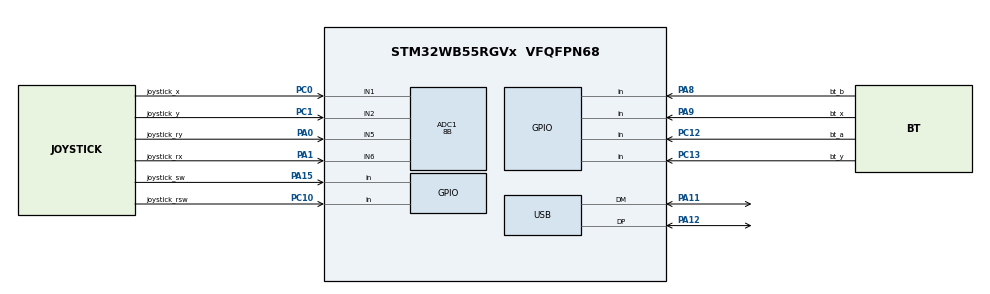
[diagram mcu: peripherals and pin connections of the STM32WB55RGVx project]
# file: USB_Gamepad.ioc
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ADC1.Channel-0\#ChannelRegularConversion=ADC_CHANNEL_1
ADC1.Channel-1\#ChannelRegularConversion=ADC_CHANNEL_2
ADC1.Channel-2\#ChannelRegularConversion=ADC_CHANNEL_6
ADC1.Channel-3\#ChannelRegularConversion=ADC_CHANNEL_5
ADC1.ClockPrescaler=ADC_CLOCK_SYNC_PCLK_DIV4
ADC1.ContinuousConvMode=DISABLE
ADC1.DMAContinuousRequests=ENABLE
ADC1.EOCSelection=ADC_EOC_SEQ_CONV
ADC1.ExternalTrigConv=ADC_EXTERNALTRIG_T1_TRGO
ADC1.NbrOfConversion=4
ADC1.NbrOfConversionFlag=1
ADC1.OffsetNumber-0\#ChannelRegularConversion=ADC_OFFSET_NONE
ADC1.OffsetNumber-1\#ChannelRegularConversion=ADC_OFFSET_NONE
ADC1.OffsetNumber-2\#ChannelRegularConversion=ADC_OFFSET_NONE
ADC1.OffsetNumber-3\#ChannelRegularConversion=ADC_OFFSET_NONE
ADC1.Rank-0\#ChannelRegularConversion=1
ADC1.Rank-1\#ChannelRegularConversion=2
ADC1.Rank-2\#ChannelRegularConversion=3
ADC1.Rank-3\#ChannelRegularConversion=4
ADC1.Resolution=ADC_RESOLUTION_8B
ADC1.SamplingTime-0\#ChannelRegularConversion=ADC_SAMPLETIME_640CYCLES_5
ADC1.SamplingTime-1\#ChannelRegularConversion=ADC_SAMPLETIME_640CYCLES_5
ADC1.SamplingTime-2\#ChannelRegularConversion=ADC_SAMPLETIME_640CYCLES_5
ADC1.SamplingTime-3\#ChannelRegularConversion=ADC_SAMPLETIME_640CYCLES_5
ADC1.master=1
Dma.ADC1.0.Direction=DMA_PERIPH_TO_MEMORY
Dma.ADC1.0.EventEnable=DISABLE
Dma.ADC1.0.Instance=DMA1_Channel1
Dma.ADC1.0.MemDataAlignment=DMA_MDATAALIGN_BYTE
Dma.ADC1.0.MemInc=DMA_MINC_ENABLE
Dma.ADC1.0.Mode=DMA_CIRCULAR
Dma.ADC1.0.PeriphDataAlignment=DMA_PDATAALIGN_BYTE
Dma.ADC1.0.PeriphInc=DMA_PINC_DISABLE
Dma.ADC1.0.Polarity=HAL_DMAMUX_REQ_GEN_RISING
Dma.ADC1.0.Priority=DMA_PRIORITY_HIGH
Dma.ADC1.0.RequestNumber=1
Dma.ADC1.0.SignalID=NONE
Dma.ADC1.0.SyncEnable=DISABLE
Dma.ADC1.0.SyncPolarity=HAL_DMAMUX_SYNC_NO_EVENT
Dma.ADC1.0.SyncRequestNumber=1
Dma.ADC1.0.SyncSignalID=NONE
Dma.Request0=ADC1
Mcu.Family=STM32WB
Mcu.Name=STM32WB55RGVx
Mcu.Package=VFQFPN68
NVIC.DMA1_Channel1_IRQn=true\:0\:0\:false\:false\:true\:false\:true\:true
NVIC.PriorityGroup=NVIC_PRIORITYGROUP_4
NVIC.TIM1_TRG_COM_TIM17_IRQn=true\:0\:0\:false\:false\:true\:true\:true\:true
NVIC.TIM1_UP_TIM16_IRQn=true\:0\:0\:false\:false\:true\:true\:true\:true
NVIC.USB_LP_IRQn=true\:0\:0\:false\:false\:true\:false\:true\:true
PA0.GPIO_Label=joystick_ry
PA0.Signal=ADCx_IN5
PA1.GPIO_Label=joystick_rx
PA1.Signal=ADCx_IN6
PA11.GPIO_Speed=GPIO_SPEED_FREQ_VERY_HIGH
PA11.Mode=Device
PA11.Signal=USB_DM
PA12.GPIO_Speed=GPIO_SPEED_FREQ_VERY_HIGH
PA12.Mode=Device
PA12.Signal=USB_DP
PA15.GPIO_Label=joystick_sw
PA15.GPIO_PuPd=GPIO_PULLUP
PA15.Signal=GPIO_Input
PA8.GPIO_Label=bt_b
PA8.GPIO_PuPd=GPIO_PULLUP
PA8.Signal=GPIO_Input
PA9.GPIO_Label=bt_x
PA9.GPIO_PuPd=GPIO_PULLUP
PA9.Signal=GPIO_Input
PC0.GPIO_Label=joystick_x
PC0.Signal=ADCx_IN1
PC1.GPIO_Label=joystick_y
PC1.Signal=ADCx_IN2
PC10.GPIO_Label=joystick_rsw
PC10.GPIO_PuPd=GPIO_PULLUP
PC10.Signal=GPIO_Input
PC12.GPIO_Label=bt_a
PC12.GPIO_PuPd=GPIO_PULLUP
PC12.Signal=GPIO_Input
PC13.GPIO_Label=bt_y
PC13.GPIO_PuPd=GPIO_PULLUP
PC13.Signal=GPIO_Input
ProjectManager.HeapSize=0x200
ProjectManager.StackSize=0x400
ProjectManager.TargetToolchain=STM32CubeIDE
RCC.ADCFreq_Value=48000000
RCC.AHB2CLKDivider=RCC_SYSCLK_DIV2
RCC.AHBFreq_Value=64000000
RCC.APB1Freq_Value=64000000
RCC.APB1TimFreq_Value=64000000
RCC.APB2Freq_Value=64000000
RCC.APB2TimFreq_Value=64000000
RCC.APB3Freq_Value=16000000
RCC.Cortex2_Div=SYSTICK_CLKSOURCE_HCLK_DIV8
RCC.CortexFreq_Value=64000000
RCC.HCLKFreq_Value=64000000
RCC.HSE_VALUE=32000000
RCC.HSI48_VALUE=48000000
RCC.HSI_VALUE=16000000
RCC.LSE_VALUE=32768
RCC.PLLN=32
RCC.PLLSAI1N=24
RCC.SMPSCLockSelection=RCC_SMPSCLKSOURCE_HSI
RCC.SMPSCLockSelectionVirtual=RCC_SMPSCLKSOURCE_HSI
RCC.SMPSCLockSelectionVirtualVirtual=RCC_SMPSCLKSOURCE_HSI
RCC.SMPSDivider=1
RCC.SYSCLKFreq_VALUE=64000000
RCC.SYSCLKSource=RCC_SYSCLKSOURCE_PLLCLK
RCC.USBFreq_Value=48000000
RCC.VCOOutputFreq_Value=128000000
SH.ADCx_IN1.0=ADC1_IN1,IN1-Single-Ended
SH.ADCx_IN2.0=ADC1_IN2,IN2-Single-Ended
SH.ADCx_IN5.0=ADC1_IN5,IN5-Single-Ended
SH.ADCx_IN6.0=ADC1_IN6,IN6-Single-Ended
TIM1.Period=100-1
TIM1.Prescaler=64000-1
TIM1.TIM_MasterOutputTrigger=TIM_TRGO_UPDATE
TIM1.TIM_MasterOutputTrigger2=TIM_TRGO2_RESET
USB.Sof_enable=DISABLE
USB_DEVICE.CLASS_NAME_FS=HID
USB_DEVICE.MANUFACTURER_STRING=Trailblazing Technology
USB_DEVICE.PRODUCT_STRING_HID_FS=TrailTech Gamepad
USB_DEVICE.USBD_MAX_STR_DESC_SIZ=74
USB_DEVICE.VID=1155
USB_DEVICE.VirtualMode=Hid
USB_DEVICE.VirtualModeFS=Hid_FS
VP_MEMORYMAP_VS_MEMORYMAP.Mode=CurAppReg
VP_TIM1_VS_ClockSourceINT.Mode=Internal
VP_USB_DEVICE_VS_USB_DEVICE_HID_FS.Mode=HID_FS
board=NUCLEO-WB55RG

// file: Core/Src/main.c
/* USER CODE BEGIN Header */
/**
  ******************************************************************************
  * @file           : main.c
  * @brief          : Main program body
  ******************************************************************************
  * @attention
  *
  * Copyright (c) 2024 STMicroelectronics.
  * All rights reserved.
  *
  * This software is licensed under terms that can be found in the LICENSE file
  * in the root directory of this software component.
  * If no LICENSE file comes with this software, it is provided AS-IS.
  *
  ******************************************************************************
  */
/* USER CODE END Header */
#include "main.h"
#include "usb_device.h"

/* USER CODE BEGIN Includes */
#include "usbd_core.h"
#include "usbd_desc.h"
#include "usbd_hid.h"
/* USER CODE END Includes */

/* USER CODE BEGIN PD */
// Button PTD
typedef struct{
	uint8_t readState;
	uint8_t currentState;
	uint8_t lastState;
	uint32_t lastDebounceTime;
} button_t;

typedef struct{
	bool leftJS_isPressed;
	bool rightJS_isPressed;
	bool a_isPressed;
	bool b_isPressed;
	bool x_isPressed;
	bool y_isPressed;
}buttonState_t;
/* USER CODE END PD */

ADC_HandleTypeDef hadc1;
DMA_HandleTypeDef hdma_adc1;

TIM_HandleTypeDef htim1;

/* USER CODE BEGIN PV */

// Switches
buttonState_t bt_states = {false, false, false, false};
uint8_t bt_gamepad[2] = {0x00, 0x00};

// Joystick knobs
uint8_t joystick_X, joystick_Y, joystick_RX, joystick_RY;
uint8_t rawADC[4];
uint32_t prevTime = 0;
/* USER CODE END PV */

void SystemClock_Config(void);
void PeriphCommonClock_Config(void);
static void MX_GPIO_Init(void);
static void MX_DMA_Init(void);
static void MX_ADC1_Init(void);
static void MX_TIM1_Init(void);
/* USER CODE BEGIN PFP */
void controlButtonState(button_t *button, uint32_t debounceDelay, bool *returnState);
/* USER CODE END PFP */

/* USER CODE BEGIN 0 */

/**
 * @brief ADC DMA callback when buffer is full
 * @param:
 * 		hadc	ADC Peripheral
 * @retval None
**/
void HAL_ADC_ConvCpltCallback(ADC_HandleTypeDef *hadc)
{
	/*
	 * To minimize the space in the hardware, the following configuration must be noted:
	 * 	1. The axis of X & Y is switched
	 * 	2. The X-axis is inverted polarity
	 * */
	joystick_X = ~(int8_t)rawADC[1] - 128;
	joystick_Y = (int8_t)rawADC[0] - 128;
	joystick_RX = ~(int8_t)rawADC[3] - 128;
	joystick_RY = (int8_t)rawADC[2] - 128;
}

/**
 * @brief Control the button state
 * @param
 * 		button				Struct of button's state
 * 		debounceDelay		button delay read
 * 		returnState			State to change when the button is pressed
 * @retval None
**/
void controlButtonState(button_t *button, uint32_t debounceDelay, bool *returnState)
{
	// Ignoring noise or accidentally pressed
	if(button->currentState != button->lastState)
		button->lastDebounceTime = HAL_GetTick();

	// Read the actual state from the button
	if((HAL_GetTick() - button->lastDebounceTime) > debounceDelay){
		if(button->readState != button->currentState){
			button->currentState = button->readState;
			if(button->currentState == GPIO_PIN_RESET){
				*returnState = true;
			}
		}
	}
}

/* USER CODE END 0 */

int main(void)
{

  /* USER CODE BEGIN 1 */
  button_t bt_leftJS		= {GPIO_PIN_SET, GPIO_PIN_SET, GPIO_PIN_SET, 0};
  button_t bt_rightJS		= {GPIO_PIN_SET, GPIO_PIN_SET, GPIO_PIN_SET, 0};
  button_t bt_a 			= {GPIO_PIN_SET, GPIO_PIN_SET, GPIO_PIN_SET, 0};
  button_t bt_b 			= {GPIO_PIN_SET, GPIO_PIN_SET, GPIO_PIN_SET, 0};
  button_t bt_x 			= {GPIO_PIN_SET, GPIO_PIN_SET, GPIO_PIN_SET, 0};
  button_t bt_y 			= {GPIO_PIN_SET, GPIO_PIN_SET, GPIO_PIN_SET, 0};
  button_t arrButtons[6] 	= {bt_leftJS, bt_rightJS, bt_a, bt_b, bt_x, bt_y};
  /* USER CODE END 1 */

  /* MCU Configuration--------------------------------------------------------*/

  /* Reset of all peripherals, Initializes the Flash interface and the Systick. */
  HAL_Init();

  /* Configure the system clock */
  SystemClock_Config();

/* Configure the peripherals common clocks */
  PeriphCommonClock_Config();

  /* Initialize all configured peripherals */
  MX_GPIO_Init();
  MX_DMA_Init();
  MX_ADC1_Init();
  MX_USB_Device_Init();
  MX_TIM1_Init();
  /* USER CODE BEGIN 2 */
  HAL_ADC_Start_DMA(&hadc1, (uint32_t *)rawADC, 4);
  HAL_TIM_Base_Start(&htim1);
  /* USER CODE END 2 */

  /* Infinite loop */
  /* USER CODE BEGIN WHILE */
  while (1)
  {
	  arrButtons[0].readState	= HAL_GPIO_ReadPin(joystick_sw_GPIO_Port, joystick_sw_Pin);
	  arrButtons[1].readState 	= HAL_GPIO_ReadPin(joystick_rsw_GPIO_Port, joystick_rsw_Pin);
	  arrButtons[2].readState	= HAL_GPIO_ReadPin(bt_a_GPIO_Port, bt_a_Pin);
	  arrButtons[3].readState 	= HAL_GPIO_ReadPin(bt_b_GPIO_Port, bt_b_Pin);
	  arrButtons[4].readState	= HAL_GPIO_ReadPin(bt_x_GPIO_Port, bt_x_Pin);
	  arrButtons[5].readState 	= HAL_GPIO_ReadPin(bt_y_GPIO_Port, bt_y_Pin);
	  controlButtonState(&arrButtons[0], 50, &bt_states.leftJS_isPressed);
	  controlButtonState(&arrButtons[1], 50, &bt_states.rightJS_isPressed);
	  controlButtonState(&arrButtons[2], 50, &bt_states.a_isPressed);
	  controlButtonState(&arrButtons[3], 50, &bt_states.b_isPressed);
	  controlButtonState(&arrButtons[4], 50, &bt_states.x_isPressed);
	  controlButtonState(&arrButtons[5], 50, &bt_states.y_isPressed);

	  bt_gamepad[0] = (bt_states.y_isPressed << 3) | (bt_states.x_isPressed << 0) | (bt_states.b_isPressed << 2) | (bt_states.a_isPressed << 1);
	  bt_gamepad[1] = (bt_states.rightJS_isPressed << 2) | (bt_states.leftJS_isPressed << 1);

	  // Normalize state every 200 ms
	  if(HAL_GetTick() - prevTime >= 200){
		  prevTime = HAL_GetTick();
		  if(bt_states.leftJS_isPressed)
			  bt_states.leftJS_isPressed = false;
		  else if(bt_states.rightJS_isPressed)
			  bt_states.rightJS_isPressed = false;
		  else if(bt_states.a_isPressed)
			  bt_states.a_isPressed = false;
		  else if(bt_states.b_isPressed)
			  bt_states.b_isPressed = false;
		  else if(bt_states.x_isPressed)
			  bt_states.x_isPressed = false;
		  else if(bt_states.y_isPressed)
			  bt_states.y_isPressed = false;
	  }

	  // Save the reading for the next iteration
	  for(uint8_t i=0; i<6; i++)
		  arrButtons[i].lastState	= arrButtons[i].readState;

	  // Send the Gamepad reading through the USB
	  JoystickControl(bt_gamepad);
	  HAL_Delay(10);
    /* USER CODE END WHILE */

  }
}

void SystemClock_Config(void)
{
  RCC_OscInitTypeDef RCC_OscInitStruct = {0};
  RCC_ClkInitTypeDef RCC_ClkInitStruct = {0};

  /** Configure the main internal regulator output voltage
  */
  __HAL_PWR_VOLTAGESCALING_CONFIG(PWR_REGULATOR_VOLTAGE_SCALE1);

  /** Initializes the RCC Oscillators according to the specified parameters
  * in the RCC_OscInitTypeDef structure.
  */
  RCC_OscInitStruct.OscillatorType = RCC_OSCILLATORTYPE_HSI|RCC_OSCILLATORTYPE_LSE
                              |RCC_OSCILLATORTYPE_MSI;
  RCC_OscInitStruct.LSEState = RCC_LSE_OFF;
  RCC_OscInitStruct.HSIState = RCC_HSI_ON;
  RCC_OscInitStruct.MSIState = RCC_MSI_ON;
  RCC_OscInitStruct.HSICalibrationValue = RCC_HSICALIBRATION_DEFAULT;
  RCC_OscInitStruct.MSICalibrationValue = RCC_MSICALIBRATION_DEFAULT;
  RCC_OscInitStruct.MSIClockRange = RCC_MSIRANGE_6;
  RCC_OscInitStruct.PLL.PLLState = RCC_PLL_ON;
  RCC_OscInitStruct.PLL.PLLSource = RCC_PLLSOURCE_MSI;
  RCC_OscInitStruct.PLL.PLLM = RCC_PLLM_DIV1;
  RCC_OscInitStruct.PLL.PLLN = 32;
  RCC_OscInitStruct.PLL.PLLP = RCC_PLLP_DIV2;
  RCC_OscInitStruct.PLL.PLLR = RCC_PLLR_DIV2;
  RCC_OscInitStruct.PLL.PLLQ = RCC_PLLQ_DIV2;
  if (HAL_RCC_OscConfig(&RCC_OscInitStruct) != HAL_OK)
  {
    Error_Handler();
  }

  /** Configure the SYSCLKSource, HCLK, PCLK1 and PCLK2 clocks dividers
  */
  RCC_ClkInitStruct.ClockType = RCC_CLOCKTYPE_HCLK4|RCC_CLOCKTYPE_HCLK2
                              |RCC_CLOCKTYPE_HCLK|RCC_CLOCKTYPE_SYSCLK
                              |RCC_CLOCKTYPE_PCLK1|RCC_CLOCKTYPE_PCLK2;
  RCC_ClkInitStruct.SYSCLKSource = RCC_SYSCLKSOURCE_PLLCLK;
  RCC_ClkInitStruct.AHBCLKDivider = RCC_SYSCLK_DIV1;
  RCC_ClkInitStruct.APB1CLKDivider = RCC_HCLK_DIV1;
  RCC_ClkInitStruct.APB2CLKDivider = RCC_HCLK_DIV1;
  RCC_ClkInitStruct.AHBCLK2Divider = RCC_SYSCLK_DIV2;
  RCC_ClkInitStruct.AHBCLK4Divider = RCC_SYSCLK_DIV1;

  if (HAL_RCC_ClockConfig(&RCC_ClkInitStruct, FLASH_LATENCY_3) != HAL_OK)
  {
    Error_Handler();
  }

  /** Enable MSI Auto calibration
  */
  HAL_RCCEx_EnableMSIPLLMode();
}

void PeriphCommonClock_Config(void)
{
  RCC_PeriphCLKInitTypeDef PeriphClkInitStruct = {0};

  /** Initializes the peripherals clock
  */
  PeriphClkInitStruct.PeriphClockSelection = RCC_PERIPHCLK_SMPS|RCC_PERIPHCLK_USB
                              |RCC_PERIPHCLK_ADC;
  PeriphClkInitStruct.PLLSAI1.PLLN = 24;
  PeriphClkInitStruct.PLLSAI1.PLLP = RCC_PLLP_DIV2;
  PeriphClkInitStruct.PLLSAI1.PLLQ = RCC_PLLQ_DIV2;
  PeriphClkInitStruct.PLLSAI1.PLLR = RCC_PLLR_DIV2;
  PeriphClkInitStruct.PLLSAI1.PLLSAI1ClockOut = RCC_PLLSAI1_USBCLK|RCC_PLLSAI1_ADCCLK;
  PeriphClkInitStruct.UsbClockSelection = RCC_USBCLKSOURCE_PLLSAI1;
  PeriphClkInitStruct.AdcClockSelection = RCC_ADCCLKSOURCE_PLLSAI1;
  PeriphClkInitStruct.SmpsClockSelection = RCC_SMPSCLKSOURCE_HSI;
  PeriphClkInitStruct.SmpsDivSelection = RCC_SMPSCLKDIV_RANGE0;

  if (HAL_RCCEx_PeriphCLKConfig(&PeriphClkInitStruct) != HAL_OK)
  {
    Error_Handler();
  }
}

static void MX_ADC1_Init(void)
{

  ADC_ChannelConfTypeDef sConfig = {0};

  /** Common config
  */
  hadc1.Instance = ADC1;
  hadc1.Init.ClockPrescaler = ADC_CLOCK_SYNC_PCLK_DIV4;
  hadc1.Init.Resolution = ADC_RESOLUTION_8B;
  hadc1.Init.DataAlign = ADC_DATAALIGN_RIGHT;
  hadc1.Init.ScanConvMode = ADC_SCAN_ENABLE;
  hadc1.Init.EOCSelection = ADC_EOC_SEQ_CONV;
  hadc1.Init.LowPowerAutoWait = DISABLE;
  hadc1.Init.ContinuousConvMode = DISABLE;
  hadc1.Init.NbrOfConversion = 4;
  hadc1.Init.DiscontinuousConvMode = DISABLE;
  hadc1.Init.ExternalTrigConv = ADC_EXTERNALTRIG_T1_TRGO;
  hadc1.Init.ExternalTrigConvEdge = ADC_EXTERNALTRIGCONVEDGE_RISING;
  hadc1.Init.DMAContinuousRequests = ENABLE;
  hadc1.Init.Overrun = ADC_OVR_DATA_PRESERVED;
  hadc1.Init.OversamplingMode = DISABLE;
  if (HAL_ADC_Init(&hadc1) != HAL_OK)
  {
    Error_Handler();
  }

  /** Configure Regular Channel
  */
  sConfig.Channel = ADC_CHANNEL_1;
  sConfig.Rank = ADC_REGULAR_RANK_1;
  sConfig.SamplingTime = ADC_SAMPLETIME_640CYCLES_5;
  sConfig.SingleDiff = ADC_SINGLE_ENDED;
  sConfig.OffsetNumber = ADC_OFFSET_NONE;
  sConfig.Offset = 0;
  if (HAL_ADC_ConfigChannel(&hadc1, &sConfig) != HAL_OK)
  {
    Error_Handler();
  }

  /** Configure Regular Channel
  */
  sConfig.Channel = ADC_CHANNEL_2;
  sConfig.Rank = ADC_REGULAR_RANK_2;
  if (HAL_ADC_ConfigChannel(&hadc1, &sConfig) != HAL_OK)
  {
    Error_Handler();
  }

  /** Configure Regular Channel
  */
  sConfig.Channel = ADC_CHANNEL_6;
  sConfig.Rank = ADC_REGULAR_RANK_3;
  if (HAL_ADC_ConfigChannel(&hadc1, &sConfig) != HAL_OK)
  {
    Error_Handler();
  }

  /** Configure Regular Channel
  */
  sConfig.Channel = ADC_CHANNEL_5;
  sConfig.Rank = ADC_REGULAR_RANK_4;
  if (HAL_ADC_ConfigChannel(&hadc1, &sConfig) != HAL_OK)
  {
    Error_Handler();
  }

}

static void MX_TIM1_Init(void)
{

  TIM_ClockConfigTypeDef sClockSourceConfig = {0};
  TIM_MasterConfigTypeDef sMasterConfig = {0};

  htim1.Instance = TIM1;
  htim1.Init.Prescaler = 64000-1;
  htim1.Init.CounterMode = TIM_COUNTERMODE_UP;
  htim1.Init.Period = 100-1;
  htim1.Init.ClockDivision = TIM_CLOCKDIVISION_DIV1;
  htim1.Init.RepetitionCounter = 0;
  htim1.Init.AutoReloadPreload = TIM_AUTORELOAD_PRELOAD_DISABLE;
  if (HAL_TIM_Base_Init(&htim1) != HAL_OK)
  {
    Error_Handler();
  }
  sClockSourceConfig.ClockSource = TIM_CLOCKSOURCE_INTERNAL;
  if (HAL_TIM_ConfigClockSource(&htim1, &sClockSourceConfig) != HAL_OK)
  {
    Error_Handler();
  }
  sMasterConfig.MasterOutputTrigger = TIM_TRGO_UPDATE;
  sMasterConfig.MasterOutputTrigger2 = TIM_TRGO2_RESET;
  sMasterConfig.MasterSlaveMode = TIM_MASTERSLAVEMODE_DISABLE;
  if (HAL_TIMEx_MasterConfigSynchronization(&htim1, &sMasterConfig) != HAL_OK)
  {
    Error_Handler();
  }

}

static void MX_DMA_Init(void)
{

  /* DMA controller clock enable */
  __HAL_RCC_DMAMUX1_CLK_ENABLE();
  __HAL_RCC_DMA1_CLK_ENABLE();

  /* DMA interrupt init */
  /* DMA1_Channel1_IRQn interrupt configuration */
  HAL_NVIC_SetPriority(DMA1_Channel1_IRQn, 0, 0);
  HAL_NVIC_EnableIRQ(DMA1_Channel1_IRQn);

}

static void MX_GPIO_Init(void)
{
  GPIO_InitTypeDef GPIO_InitStruct = {0};

  /* GPIO Ports Clock Enable */
  __HAL_RCC_GPIOC_CLK_ENABLE();
  __HAL_RCC_GPIOA_CLK_ENABLE();

  /*Configure GPIO pins : bt_y_Pin joystick_rsw_Pin bt_a_Pin */
  GPIO_InitStruct.Pin = bt_y_Pin|joystick_rsw_Pin|bt_a_Pin;
  GPIO_InitStruct.Mode = GPIO_MODE_INPUT;
  GPIO_InitStruct.Pull = GPIO_PULLUP;
  HAL_GPIO_Init(GPIOC, &GPIO_InitStruct);

  /*Configure GPIO pins : bt_b_Pin bt_x_Pin joystick_sw_Pin */
  GPIO_InitStruct.Pin = bt_b_Pin|bt_x_Pin|joystick_sw_Pin;
  GPIO_InitStruct.Mode = GPIO_MODE_INPUT;
  GPIO_InitStruct.Pull = GPIO_PULLUP;
  HAL_GPIO_Init(GPIOA, &GPIO_InitStruct);

}

void Error_Handler(void)
{
  __disable_irq();
  while (1)
  {
  }
}
